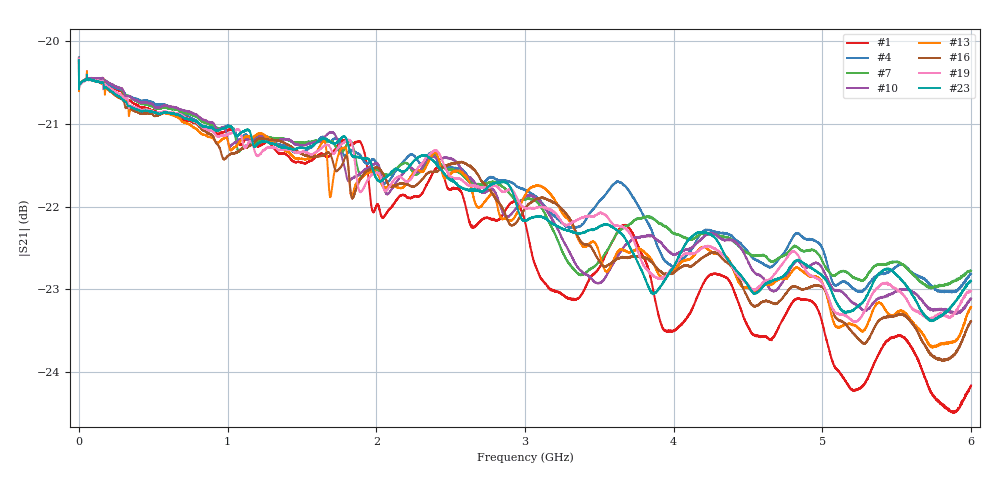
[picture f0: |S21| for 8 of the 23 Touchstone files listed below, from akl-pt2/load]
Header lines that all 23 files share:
# MHZ S MA R  50
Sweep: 300 kHz to 6 GHz
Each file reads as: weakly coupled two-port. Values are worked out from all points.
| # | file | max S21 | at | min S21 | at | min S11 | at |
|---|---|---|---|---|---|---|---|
| 1 | a68-001-dbed-norefext.s2p | -20.23 dB | 300 kHz | -24.5 dB | 5.888 GHz | -26.8 dB | 167.1 MHz |
| 2 | a68-004-dbed-refext.s2p | -20.21 dB | 300 kHz | -23.3 dB | 5.815 GHz | -26.7 dB | 87.9 MHz |
| 3 | a69-001-dbed-refext.s2p | -20.21 dB | 300 kHz | -23.5 dB | 5.711 GHz | -26.9 dB | 168.3 MHz |
| 4 | a69-002-dbed-refext.s2p | -20.20 dB | 300 kHz | -23.0 dB | 5.872 GHz | -26.8 dB | 162.3 MHz |
| 5 | a69-003-dbed-refext.s2p | -20.24 dB | 300 kHz | -23.4 dB | 5.846 GHz | -26.9 dB | 160.5 MHz |
| 6 | a69-004-dbed-refext.s2p | -20.23 dB | 300 kHz | -23.3 dB | 5.651 GHz | -26.7 dB | 156.9 MHz |
| 7 | a69-005-dbed-refext.s2p | -20.21 dB | 300 kHz | -23.0 dB | 5.732 GHz | -26.8 dB | 214.5 MHz |
| 8 | a69-006-dbed-norefext.s2p | -20.17 dB | 300 kHz | -23.1 dB | 5.896 GHz | -27.3 dB | 289.5 MHz |
| 9 | a69-007-dbed-refext.s2p | -20.21 dB | 300 kHz | -24.0 dB | 5.744 GHz | -26.8 dB | 169.5 MHz |
| 10 | a69-008-dbed-refext.s2p | -20.23 dB | 300 kHz | -23.3 dB | 5.907 GHz | -26.8 dB | 164.1 MHz |
| 11 | a69-009-dbed-refext.s2p | -20.24 dB | 300 kHz | -23.8 dB | 5.836 GHz | -26.7 dB | 162.9 MHz |
| 12 | a69-010-dbed-refext.s2p | -20.24 dB | 300 kHz | -23.5 dB | 5.853 GHz | -26.7 dB | 163.5 MHz |
| 13 | a69-011-dbed-refext.s2p | -20.24 dB | 300 kHz | -23.7 dB | 5.744 GHz | -26.7 dB | 174.3 MHz |
| 14 | a69-012-dbed-norefext.s2p | -20.24 dB | 300 kHz | -23.8 dB | 5.776 GHz | -26.6 dB | 173.7 MHz |
| 15 | a69-013-dbed-refext.s2p | -20.19 dB | 300 kHz | -23.3 dB | 5.736 GHz | -26.9 dB | 169.5 MHz |
| 16 | a69-014-dbed-refext.s2p | -20.21 dB | 300 kHz | -23.9 dB | 5.81 GHz | -26.6 dB | 83.7 MHz |
| 17 | a69-015-dbed-refext.s2p | -20.22 dB | 300 kHz | -23.4 dB | 5.79 GHz | -26.8 dB | 156.3 MHz |
| 18 | a69-016-dbed-refext-resoldered.s2p | -20.22 dB | 300 kHz | -23.5 dB | 5.734 GHz | -26.7 dB | 156.3 MHz |
| 19 | a69-016-dbed-refext.s2p | -20.21 dB | 300 kHz | -23.4 dB | 5.218 GHz | -26.7 dB | 161.7 MHz |
| 20 | a69-017-dbed-refext.s2p | -20.23 dB | 300 kHz | -23.4 dB | 5.732 GHz | -29.0 dB | 3.048 GHz |
| 21 | a69-018-dbed-refext-resoldered.s2p | -20.23 dB | 300 kHz | -23.5 dB | 5.733 GHz | -26.8 dB | 169.5 MHz |
| 22 | a69-018-dbed-refext.s2p | -20.23 dB | 300 kHz | -23.5 dB | 5.732 GHz | -26.7 dB | 162.9 MHz |
| 23 | a79-001-dbed-refext.s2p | -20.23 dB | 300 kHz | -23.4 dB | 5.733 GHz | -32.6 dB | 2.921 GHz |
